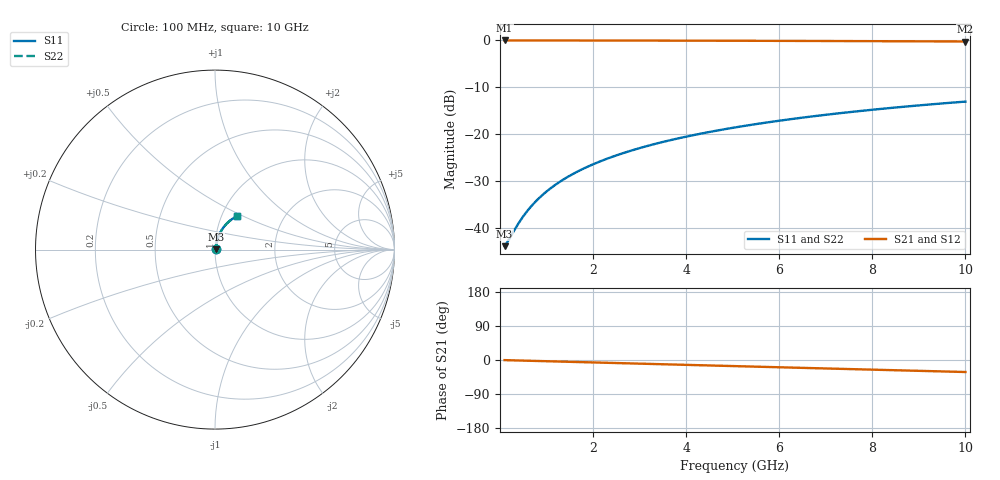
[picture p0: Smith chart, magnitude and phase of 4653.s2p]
# Hz S RI R 50.00
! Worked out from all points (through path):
!   100 points, 100 MHz to 10 GHz, reference 50 ohm
!   highest |S21| = -0.05 dB at 100 MHz (marker M1); lowest = -0.3 dB at 10 GHz (marker M2)
!   group delay of S21, straight-line fit = 8.81 ps
!   lowest |S11| = -43.9 dB at 100 MHz (marker M3), VSWR 1.01, Z = 50.6 + j0.236 ohm
!   |S11| at or under -10 dB: start of sweep to end of sweep
!   |S22| runs from -43.9 to -13.1 dB; largest |S21 - S12| = 0
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1e8  0.00595 0.00233  0.994 -0.00557  0.994 -0.00557  0.00595 0.00233
2e8  0.00603 0.00467  0.9939 -0.0111  0.9939 -0.0111  0.00603 0.00467
4e8  0.00623 0.00933  0.9937 -0.0223  0.9937 -0.0223  0.00623 0.00933
5e8  0.00637 0.0117  0.9935 -0.0278  0.9935 -0.0278  0.00637 0.0117
6e8  0.00653 0.014  0.9933 -0.0334  0.9933 -0.0334  0.00653 0.014
7e8  0.00672 0.0163  0.993 -0.039  0.993 -0.039  0.00672 0.0163
8e8  0.00693 0.0186  0.9927 -0.0445  0.9927 -0.0445  0.00693 0.0186
1e9  0.00742 0.0233  0.992 -0.0556  0.992 -0.0556  0.00742 0.0233
1.2e9  0.00802 0.0279  0.9912 -0.0667  0.9912 -0.0667  0.00802 0.0279
1.5e9  0.0091 0.0348  0.9897 -0.0833  0.9897 -0.0833  0.0091 0.0348
1.8e9  0.0104 0.0417  0.9878 -0.0999  0.9878 -0.0999  0.0104 0.0417
2.1e9  0.0119 0.0485  0.9857 -0.1164  0.9857 -0.1164  0.0119 0.0485
2.5e9  0.0143 0.0575  0.9823 -0.1384  0.9823 -0.1384  0.0143 0.0575
2.9e9  0.0171 0.0663  0.9783 -0.1602  0.9783 -0.1602  0.0171 0.0663
3.4e9  0.0212 0.0772  0.9726 -0.1873  0.9726 -0.1873  0.0212 0.0772
4.2e9  0.0289 0.0941  0.9617 -0.23  0.9617 -0.23  0.0289 0.0941
5.1e9  0.0393 0.1121  0.9468 -0.2772  0.9468 -0.2772  0.0393 0.1121
5.9e9  0.0499 0.1271  0.9314 -0.3181  0.9314 -0.3181  0.0499 0.1271
6.7e9  0.0618 0.141  0.9141 -0.3579  0.9141 -0.3579  0.0618 0.141
7.5e9  0.0749 0.1538  0.8949 -0.3966  0.8949 -0.3966  0.0749 0.1538
8.4e9  0.0907 0.1667  0.8712 -0.4386  0.8712 -0.4386  0.0907 0.1667
1e10  0.1215 0.1855  0.8242 -0.5089  0.8242 -0.5089  0.1215 0.1855
